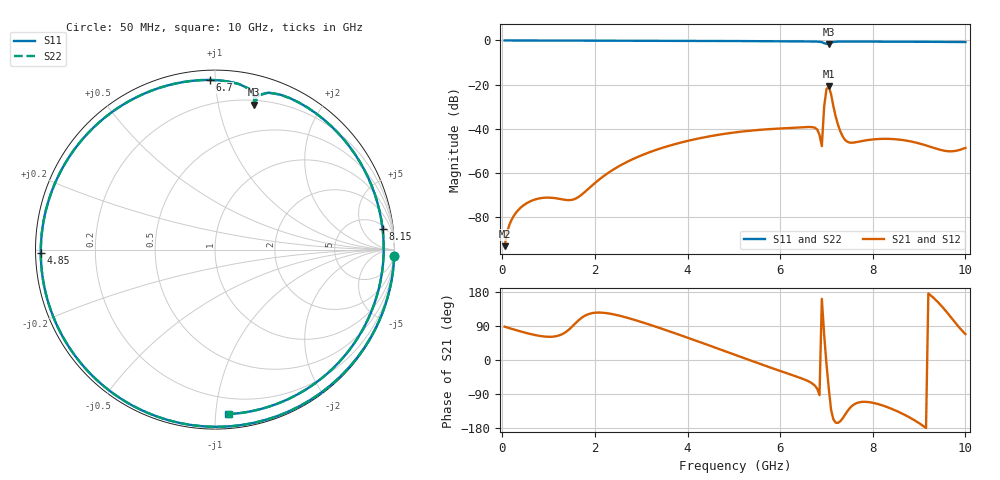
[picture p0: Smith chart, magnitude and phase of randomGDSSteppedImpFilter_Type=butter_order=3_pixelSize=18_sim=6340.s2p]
! freq	dB(S11)	phase(S11)	dB(S12)	phase(S12)
!  dB(S21)	phase(S21)	dB(S22)	phase(S22)
!S-par simulation data
#  GHz  S  DB  R 50
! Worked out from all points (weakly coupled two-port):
!   200 points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, 50 MHz to 10 GHz, reference 50 ohm
!   highest |S21| = -20.86 dB at 7.05 GHz (marker M1); lowest = -93.3 dB at 50 MHz (marker M2)
!   lowest |S11| = -1.6 dB at 7.05 GHz (marker M3), VSWR 11.17, Z = 11.9 + j63.7 ohm
!   |S11| at or under -10 dB: nowhere
!   |S22| runs from -1.6 to 0.0 dB; largest |S21 - S12| = 0
!   S11 on the Smith chart (normalised r, x): 50 MHz: 1, -58; 4.85 GHz: 0.01, -0.01; 6.7 GHz: 0.05, +0.97; 8.15 GHz: 7, +13; 10 GHz: 0.09, -1.08
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0.05  -0.00 -2.0  -93.35 88.0  -93.35 88.0  -0.01 -2.0
0.25  -0.01 -9.7  -79.54 80.5  -79.54 80.5  -0.01 -9.7
0.7  -0.03 -26.9  -72.23 66.0  -72.23 66.0  -0.03 -26.9
1.5  -0.07 -57.0  -72.34 87.2  -72.34 87.2  -0.07 -57.0
1.75  -0.08 -66.2  -69.34 114.5  -69.34 114.5  -0.08 -66.1
2.5  -0.12 -93.2  -57.30 117.8  -57.30 117.8  -0.12 -93.2
3.4  -0.16 -125.0  -49.11 84.4  -49.11 84.4  -0.16 -125.0
4.85  -0.26 -178.9  -42.22 21.5  -42.22 21.5  -0.26 -178.9
5.05  -0.27 172.9  -41.66 12.6  -41.66 12.6  -0.27 173.0
5.85  -0.35 137.3  -40.13 -22.6  -40.13 -22.6  -0.35 137.4
6.7  -0.48 91.7  -39.35 -62.5  -39.35 -62.5  -0.48 91.9
6.8  -0.54 85.3  -40.39 -75.8  -40.39 -75.8  -0.54 85.5
6.9  -0.77 77.9  -47.96 161.3  -47.96 161.3  -0.76 78.1
6.95  -1.26 74.5  -30.08 67.1  -30.08 67.1  -1.25 74.6
7  -1.53 75.6  -22.07 -10.1  -22.07 -10.1  -1.53 75.6
7.05  -1.56 75.1  -20.86 -75.8  -20.86 -75.8  -1.58 75.2
7.25  -0.52 63.5  -38.31 -165.9  -38.31 -165.9  -0.52 63.7
7.4  -0.49 53.4  -45.09 -144.7  -45.09 -144.7  -0.49 53.6
8.15  -0.53 6.9  -44.69 -117.5  -44.69 -117.5  -0.53 7.2
8.35  -0.54 -4.8  -44.66 -126.0  -44.66 -126.0  -0.54 -4.5
9.2  -0.62 -50.1  -47.96 175.7  -47.96 175.7  -0.62 -49.8
10  -0.73 -85.4  -48.75 68.4  -48.75 68.4  -0.73 -85.2
